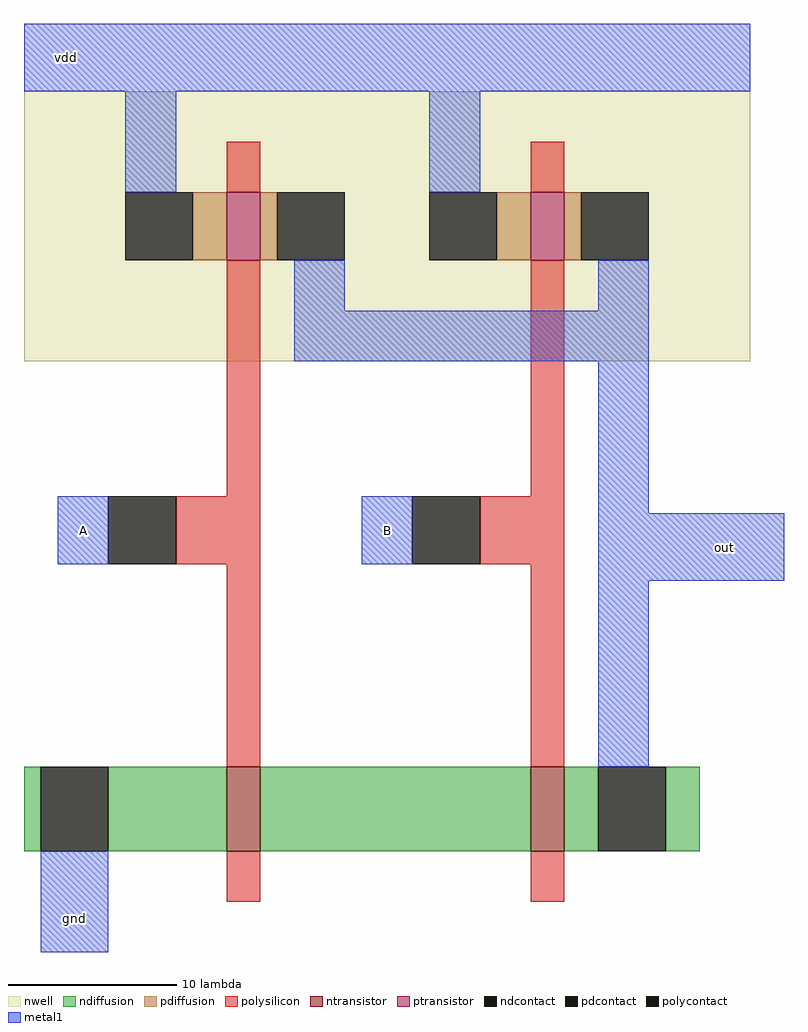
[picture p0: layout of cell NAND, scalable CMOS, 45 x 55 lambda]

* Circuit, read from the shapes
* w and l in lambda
.subckt NAND A B gnd out vdd
M1 n1 A gnd VSUBS nfet w=5 l=2
M2 out B n1 VSUBS nfet w=5 l=2
M3 out A vdd n2 pfet w=4 l=2
M4 out B vdd n2 pfet w=4 l=2
.ends

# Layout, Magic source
magic
tech scmos
<< nwell >>
rect -1 -1 42 15
<< ntransistor >>
rect 11 -30 13 -25
rect 29 -30 31 -25
<< ptransistor >>
rect 11 5 13 9
rect 29 5 31 9
<< ndiffusion >>
rect -1 -30 0 -25
rect 4 -30 11 -25
rect 13 -30 29 -25
rect 31 -30 33 -25
rect 37 -30 39 -25
<< pdiffusion >>
rect 9 5 11 9
rect 13 5 14 9
rect 27 5 29 9
rect 31 5 32 9
<< ndcontact >>
rect 0 -30 4 -25
rect 33 -30 37 -25
<< pdcontact >>
rect 5 5 9 9
rect 14 5 18 9
rect 23 5 27 9
rect 32 5 36 9
<< polysilicon >>
rect 11 9 13 12
rect 29 9 31 12
rect 11 -9 13 5
rect 29 -9 31 5
rect 8 -13 13 -9
rect 26 -13 31 -9
rect 11 -25 13 -13
rect 29 -25 31 -13
rect 11 -33 13 -30
rect 29 -33 31 -30
<< polycontact >>
rect 4 -13 8 -9
rect 22 -13 26 -9
<< metal1 >>
rect -1 15 42 19
rect 5 9 8 15
rect 23 9 26 15
rect 15 2 18 5
rect 33 2 36 5
rect 15 -1 36 2
rect 1 -13 4 -9
rect 19 -13 22 -9
rect 33 -10 36 -1
rect 33 -14 44 -10
rect 33 -25 36 -14
rect 0 -36 4 -30
<< labels >>
rlabel metal1 2 -12 3 -10 3 A
rlabel metal1 20 -12 21 -10 1 B
rlabel metal1 0 16 3 18 4 vdd
rlabel metal1 39 -13 42 -11 7 out
rlabel metal1 1 -35 3 -33 2 gnd
<< end >>
